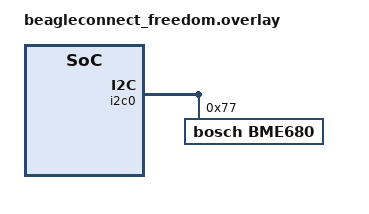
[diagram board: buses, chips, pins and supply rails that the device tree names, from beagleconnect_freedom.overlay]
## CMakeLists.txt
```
# SPDX-License-Identifier: Apache-2.0

cmake_minimum_required(VERSION 3.13.1)
# set_property(GLOBAL PROPERTY CSTD gnu11)
include($ENV{ZEPHYR_BASE}/cmake/app/boilerplate.cmake NO_POLICY_SCOPE)
project(beagleconnect_freedom)

FILE(GLOB app_sources src/*.c)
target_sources(app PRIVATE ${app_sources})
```

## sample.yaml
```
sample:
  name: BeagleConnect Freedom Sensor Test
```

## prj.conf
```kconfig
CONFIG_SERIAL=y
CONFIG_SPI=y
CONFIG_I2C=y
CONFIG_GPIO=y
CONFIG_CONSOLE=y
CONFIG_UART_CONSOLE=y
CONFIG_CONSOLE_SUBSYS=y
CONFIG_CONSOLE_GETCHAR=y
CONFIG_ENTROPY_GENERATOR=y
# This does not seem to be working atm
# CONFIG_FLASH=y
# CONFIG_SPI_NOR=y
CONFIG_LED=y
CONFIG_LOG=y
CONFIG_SHELL=y
CONFIG_GPIO_SHELL=y
CONFIG_SENSOR=y
CONFIG_OPT3001=y
CONFIG_LIS2DH=y
CONFIG_LIS2DH_OPER_MODE_LOW_POWER=n
CONFIG_HDC20X0=y
CONFIG_BME680=y
CONFIG_IEEE802154=y
CONFIG_NETWORKING=y
CONFIG_NET_HOSTNAME_ENABLE=y
CONFIG_NET_IF_UNICAST_IPV6_ADDR_COUNT=3
CONFIG_NET_IF_MCAST_IPV6_ADDR_COUNT=4
CONFIG_NET_SHELL=y
CONFIG_NET_TCP=y
CONFIG_NET_TCP1=y
CONFIG_NET_MAX_CONN=8
CONFIG_NET_MAX_CONTEXTS=8
CONFIG_NET_CONTEXT_NET_PKT_POOL=y
CONFIG_NET_PKT_RX_COUNT=8
CONFIG_NET_PKT_TX_COUNT=8
CONFIG_NET_STATISTICS=y
CONFIG_NET_LOG=y
CONFIG_MDNS_RESPONDER=y
CONFIG_DNS_SD=y
CONFIG_NET_CONFIG_AUTO_INIT=y
CONFIG_NET_CONFIG_SETTINGS=y
CONFIG_NET_CONFIG_MY_IPV6_ADDR="2001:db8::1"
CONFIG_NET_CONFIG_PEER_IPV6_ADDR="2001:db8::2"
CONFIG_NET_SOCKETS=y
CONFIG_NET_SOCKETS_POSIX_NAMES=y
CONFIG_NET_SOCKETS_POLL_MAX=8
CONFIG_NET_CONNECTION_MANAGER=y
CONFIG_NET_CONFIG_NEED_IPV6=y
CONFIG_NET_CONFIG_NEED_IPV4=n
CONFIG_NET_L2_IEEE802154=y
CONFIG_NET_L2_IEEE802154_SHELL=y
CONFIG_NET_L2_IEEE802154_LOG_LEVEL_INF=y
CONFIG_NET_CONFIG_IEEE802154_CHANNEL=26
CONFIG_NET_CONFIG_IEEE802154_DEV_NAME="IEEE802154_0"
#CONFIG_NET_CONFIG_IEEE802154_CHANNEL=1
#CONFIG_NET_CONFIG_IEEE802154_DEV_NAME="IEEE802154_1"
CONFIG_IEEE802154_CC13XX_CC26XX=y
CONFIG_IEEE802154_CC13XX_CC26XX_SUB_GHZ=n
#CONFIG_IEEE802154_CC13XX_CC26XX=n
#CONFIG_IEEE802154_CC13XX_CC26XX_SUB_GHZ=y

# Hacks
CONFIG_NEWLIB_LIBC=y
CONFIG_POSIX_MAX_FDS=16
CONFIG_PTHREAD_IPC=y
CONFIG_MAX_PTHREAD_COUNT=16
CONFIG_PTHREAD_DYNAMIC_STACK=y
```

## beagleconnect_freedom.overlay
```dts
/*
 * Copyright (c) 2020, Jason Kridner, BeagleBoard.org Foundation
 *
 * SPDX-License-Identifier: Apache-2.0
 */

/ {
	aliases {
		click1 = &environment;
	};
};

&i2c0 {
	// Grove module defaults to 0x76
	// Environment Click defaults to 0x76
	environment: bme680@77 {
		compatible = "bosch,bme680";
		reg = <0x77>;
		label = "BME680";
	};
};
```

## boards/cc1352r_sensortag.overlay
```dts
/*
 * Copyright (c) 2020 Friedt Professional Engineering Services, Inc
 *
 * SPDX-License-Identifier: Apache-2.0
 */

&flash0 {
	status = "okay";
};

&led0 {
	status = "okay";
};

&led1 {
	status = "okay";
};

&led2 {
	status = "okay";
};

&sensor0 {
	status = "okay";
};

&sensor1 {
	status = "okay";
};

/* TODO: add support for hdc2080 */
```

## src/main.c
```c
/*
 * Copyright (c) 2020 Friedt Professional Engineering Services, Inc
 * Copyright (c) 2020 Jason Kridner
 *
 * SPDX-License-Identifier: Apache-2.0
 */

#include <zephyr.h>
#include <device.h>
#include <drivers/gpio.h>
#include <drivers/led.h>
#include <drivers/sensor.h>
#include <drivers/spi.h>
#include <stdio.h>
#include <stdbool.h>
#include <stdint.h>
#include <string.h>
#include <net/net_ip.h>
#include <net/socket.h>
#include <sys/util.h>

#define LOG_LEVEL LOG_LEVEL_INF
#include <logging/log.h>
LOG_MODULE_REGISTER(beagleconnect_freedom);

#define BLINK_MS 500

#define MAX_STR_LEN 200
static char outstr[MAX_STR_LEN];

enum api {
	LED_API,
	BUTTON_API,
	SENSOR_API,
};

enum edev {
	LED_24G,
	LED_SUBG,
	BUTTON,
	LIGHT,
	ACCEL,
	HUMIDITY,
	ENVIRONMENT,
	NUM_DEVICES,
};

struct led_work {
	uint8_t active_led;
	struct k_delayed_work dwork;
};

static void sensor_work_handler(struct k_work *work);

static const char *device_labels[NUM_DEVICES] = {
	[LED_SUBG] = DT_LABEL(DT_ALIAS(led0)),
	[LED_24G] = DT_LABEL(DT_ALIAS(led1)),
	[BUTTON] = DT_LABEL(DT_ALIAS(sw0)),
	[LIGHT] = DT_LABEL(DT_ALIAS(sensor0)),
	[ACCEL] = DT_LABEL(DT_ALIAS(sensor1)),
	[HUMIDITY] = DT_LABEL(DT_ALIAS(sensor2)),
	[ENVIRONMENT] = DT_LABEL(DT_ALIAS(click1)),
};

static const char *device_names[NUM_DEVICES] = {
	[LED_SUBG] = DT_GPIO_LABEL(DT_ALIAS(led1), gpios),
	[LED_24G] = DT_GPIO_LABEL(DT_ALIAS(led0), gpios),
	[BUTTON] = DT_GPIO_LABEL(DT_ALIAS(sw0), gpios),
	[LIGHT] = DT_LABEL(DT_ALIAS(sensor0)),
	[ACCEL] = DT_LABEL(DT_ALIAS(sensor1)),
	[HUMIDITY] = DT_LABEL(DT_ALIAS(sensor2)),
	[ENVIRONMENT] = DT_LABEL(DT_ALIAS(click1)),
};

static const uint8_t device_pins[NUM_DEVICES] = {
	[LED_SUBG] = DT_GPIO_PIN(DT_ALIAS(led0), gpios),
	[LED_24G] = DT_GPIO_PIN(DT_ALIAS(led1), gpios),
	[BUTTON] = DT_GPIO_PIN(DT_ALIAS(sw0), gpios),
};

static const enum api apis[NUM_DEVICES] = {
	LED_API,    LED_API,    BUTTON_API,
	SENSOR_API, SENSOR_API, SENSOR_API,
	SENSOR_API
};

static struct device *devices[NUM_DEVICES];

static struct led_work led_work;
K_WORK_DEFINE(sensor_work, sensor_work_handler);
static struct gpio_callback button_callback;

static struct sockaddr_in6 addr;
static int fd = -1;

/* Set TIMED_SENSOR_READ to 0 to disable */
#define TIMED_SENSOR_READ 60
static int sensor_read_count = TIMED_SENSOR_READ;

static void led_work_handler(struct k_work *work)
{
	ARG_UNUSED(work);

	int r;
	uint8_t prev_led;

	LOG_DBG("%s(): active_led: %u", __func__, led_work.active_led);

	if (led_work.active_led == LED_SUBG) {
		prev_led = LED_24G;
	} else {
		prev_led = LED_SUBG;
	}

	r = gpio_pin_set(devices[prev_led], device_pins[prev_led], 0);
	__ASSERT(r == 0, "failed to turn off led %u: %d", prev_led, r);

	r = gpio_pin_set(devices[led_work.active_led],
			 device_pins[led_work.active_led], 1);
	__ASSERT(r == 0, "failed to turn on led %u: %d", led_work.active_led,
		 r);

	if (led_work.active_led == LED_SUBG) {
		led_work.active_led = LED_24G;
	} else {
		led_work.active_led = LED_SUBG;
	}

	r = k_delayed_work_submit(&led_work.dwork, K_MSEC(BLINK_MS));
	__ASSERT(r == 0, "k_delayed_work_submit() failed for LED %u work: %d",
		 led_work.active_led, r);

	if (sensor_read_count > 0) {
		sensor_read_count--;
		if (sensor_read_count <= 0) {
			sensor_read_count = TIMED_SENSOR_READ;
			k_work_submit(&sensor_work);
		}
	}
}

static void print_sensor_value(size_t idx, const char *chan,
			       struct sensor_value *val)
{
	char neg = ' ';
	char str[20];

	/* see sensor.h */
	if (val->val1 < 0 && val->val2 < 0) {
		neg = '-';
		val->val1 = -val->val1;
		val->val2 = -val->val2;
	} else if (val->val1 >= 0 && val->val2 < 0) {
		neg = '-';
		val->val2 = -val->val2;
	} else if (val->val1 < 0 && val->val2 == 0) {
		neg = '-';
		val->val1 = -val->val1;
	}

	LOG_INF("%s: %s%c%d.%06d", device_names[idx], chan, neg, val->val1, val->val2);
	snprintf(str, 20, "%d%c:%c%d.%02d;", idx, chan[0], neg, val->val1, val->val2);
	if (MAX_STR_LEN < strlen(str) + strlen(outstr)) {
		strcat(outstr, str);
	}
}

static void sensor_work_handler(struct k_work *work)
{
	struct sensor_value val;

	outstr[0] = '\0';

	for (size_t i = 0; i < NUM_DEVICES; ++i) {
		if (apis[i] != SENSOR_API) {
			continue;
		}

		if (devices[i] < 0) {
			continue;
		}

		sensor_sample_fetch(devices[i]);

		if (i == LIGHT) {
			sensor_channel_get(devices[i], SENSOR_CHAN_LIGHT, &val);
			print_sensor_value(i, "l: ", &val);
			continue;
		}

		if (i == ACCEL) {
			sensor_channel_get(devices[i], SENSOR_CHAN_ACCEL_X,
					   &val);
			print_sensor_value(i, "x: ", &val);
			sensor_channel_get(devices[i], SENSOR_CHAN_ACCEL_Y,
					   &val);
			print_sensor_value(i, "y: ", &val);
			sensor_channel_get(devices[i], SENSOR_CHAN_ACCEL_Z,
					   &val);
			print_sensor_value(i, "z: ", &val);
			continue;
		}

		if (i == HUMIDITY) {
			sensor_channel_get(devices[i], SENSOR_CHAN_HUMIDITY,
					   &val);
			print_sensor_value(i, "h: ", &val);
			sensor_channel_get(devices[i], SENSOR_CHAN_AMBIENT_TEMP,
					   &val);
			print_sensor_value(i, "t: ", &val);
			continue;
		}

		if (i == ENVIRONMENT) {
			sensor_channel_get(devices[i], SENSOR_CHAN_AMBIENT_TEMP, &val);
			print_sensor_value(i, "t: ", &val);
			sensor_channel_get(devices[i], SENSOR_CHAN_PRESS, &val);
			print_sensor_value(i, "p: ", &val);
			sensor_channel_get(devices[i], SENSOR_CHAN_HUMIDITY, &val);
			print_sensor_value(i, "h: ", &val);
			sensor_channel_get(devices[i], SENSOR_CHAN_GAS_RES, &val);
			print_sensor_value(i, "g: ", &val);
		}
	}

	if ((fd >= 0) && (strlen(outstr) > 0))
		sendto(fd, outstr, strlen(outstr), 0,
			(const struct sockaddr *) &addr,
			sizeof(addr));
}

static void button_handler(struct device *port, struct gpio_callback *cb,
			   gpio_port_pins_t pins)
{
	ARG_UNUSED(port);

	gpio_pin_t pin = device_pins[BUTTON];
	gpio_port_pins_t mask = BIT(pin);

	if ((mask & cb->pin_mask) != 0) {
		if ((mask & pins) != 0) {
			LOG_INF("%s event", device_labels[BUTTON]);
			/* print sensor readings */
			k_work_submit(&sensor_work);
		}
	}
}

void main(void)
{
	int r;

	fd = socket(AF_INET6, SOCK_DGRAM, IPPROTO_UDP);
	if (fd < 0) {
		LOG_ERR("failed to open socket");
	} else {
		memset(&addr, 0, sizeof(struct sockaddr_in6));
		addr.sin6_family = AF_INET6;
		addr.sin6_port = htons(9999);
		inet_pton(AF_INET6, "ff02::1", &addr.sin6_addr);
	}

	for (size_t i = 0; i < NUM_DEVICES; ++i) {
		LOG_INF("opening device %s", device_labels[i]);
		devices[i] =
			(struct device *)device_get_binding(device_names[i]);
		if (devices[i] == NULL) {
			LOG_ERR("failed to open device %s", device_labels[i]);
			continue;
		}

		/* per-device setup */
		switch (apis[i]) {
		case LED_API:
			r = gpio_pin_configure(devices[i], device_pins[i],
					       GPIO_OUTPUT_LOW);
			__ASSERT(r == 0,
				 "gpio_pin_configure(%s, %u, %x) failed: %d",
				 device_labels[i], device_pins[i],
				 GPIO_OUTPUT_LOW, r);
			break;
		case BUTTON_API:
			r = gpio_pin_configure(
				devices[i], device_pins[i],
				(GPIO_INPUT |
				 DT_GPIO_FLAGS(DT_ALIAS(sw0), gpios)));
			__ASSERT(r == 0,
				 "gpio_pin_configure(%s, %u, %x) failed: %d",
				 device_labels[i], device_pins[i],
				 (GPIO_INPUT |
				  DT_GPIO_FLAGS(DT_ALIAS(sw0), gpios)),
				 r);
			r = gpio_pin_interrupt_configure(
				devices[i], device_pins[i],
				GPIO_INT_EDGE_TO_ACTIVE);
			__ASSERT(
				r == 0,
				"gpio_pin_interrupt_configure(%s, %u, %x) failed: %d",
				device_labels[i], device_pins[i],
				GPIO_INT_EDGE_TO_ACTIVE, r);
			break;
		case SENSOR_API:
			break;
		default:
			break;
		}
	}

	/* setup timer-driven LED event */
	led_work.dwork.work.handler = led_work_handler;
	led_work.active_led = LED_SUBG;
	r = k_delayed_work_submit(&led_work.dwork, K_MSEC(BLINK_MS));
	__ASSERT(r == 0, "k_delayed_work_submit() failed for LED %u work: %d",
		 LED_SUBG, r);

	/* setup input-driven button event */
	gpio_init_callback(
		&button_callback, (gpio_callback_handler_t)button_handler,
		BIT(device_pins[BUTTON]));
	r = gpio_add_callback(devices[BUTTON], &button_callback);
	__ASSERT(r == 0, "gpio_add_callback() failed: %d", r);

	for (;;) {
		k_sleep(K_MSEC(1000));
	}
}
```
